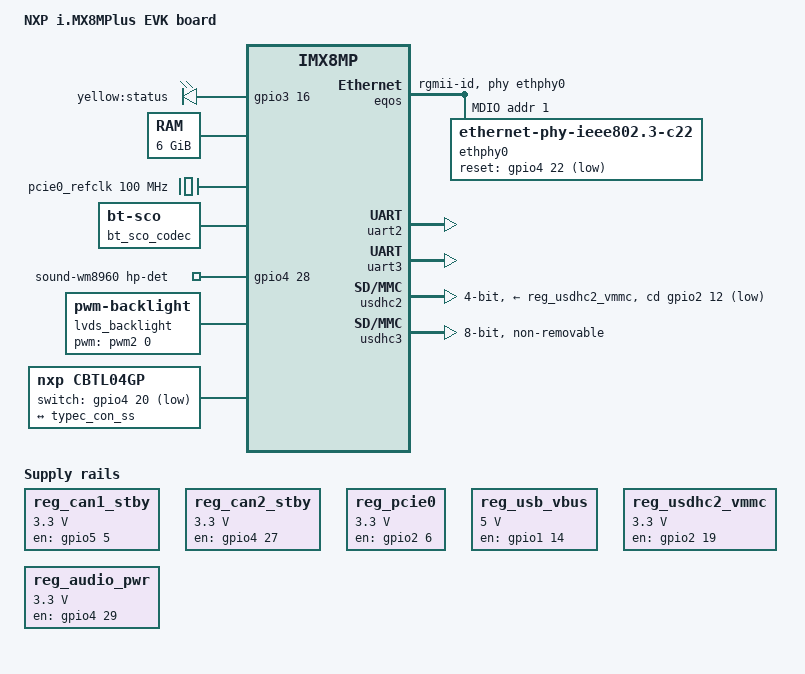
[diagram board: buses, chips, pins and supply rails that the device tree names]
/dts-v1/;

#include <dt-bindings/phy/phy-imx8-pcie.h>
#include <dt-bindings/usb/pd.h>
#include "imx8mp.dtsi"
#include "imx8mp-edc-brd01-pinmux.dtsi"        

/ {
	model = "NXP i.MX8MPlus EVK board";
	compatible = "fsl,imx8mp-evk", "fsl,imx8mp";

	chosen {
		stdout-path = &uart2;
	};

	gpio-leds {
		compatible = "gpio-leds";
		pinctrl-names = "default";
		pinctrl-0 = <&pinctrl_gpio_led>;

		status {
			label = "yellow:status";
			gpios = <&gpio3 16 GPIO_ACTIVE_HIGH>;
			default-state = "on";
		};
	};

	memory@40000000 {
		device_type = "memory";
		reg = <0x0 0x40000000 0 0xc0000000>,
		      <0x1 0x00000000 0 0xc0000000>;
	};

	pcie0_refclk: pcie0-refclk {
		compatible = "fixed-clock";
		#clock-cells = <0>;
		clock-frequency = <100000000>;
	};

	reg_can1_stby: regulator-can1-stby {
		compatible = "regulator-fixed";
		regulator-name = "can1-stby";
		pinctrl-names = "default";
		pinctrl-0 = <&pinctrl_flexcan1_reg>;
		regulator-min-microvolt = <3300000>;
		regulator-max-microvolt = <3300000>;
		gpio = <&gpio5 5 GPIO_ACTIVE_HIGH>;
		enable-active-high;
	};

	reg_can2_stby: regulator-can2-stby {
		compatible = "regulator-fixed";
		regulator-name = "can2-stby";
		pinctrl-names = "default";
		pinctrl-0 = <&pinctrl_flexcan2_reg>;
		regulator-min-microvolt = <3300000>;
		regulator-max-microvolt = <3300000>;
		gpio = <&gpio4 27 GPIO_ACTIVE_HIGH>;
		enable-active-high;
	};

	reg_pcie0: regulator-pcie {
		compatible = "regulator-fixed";
		pinctrl-names = "default";
		pinctrl-0 = <&pinctrl_pcie0_reg>;
		regulator-name = "MPCIE_3V3";
		regulator-min-microvolt = <3300000>;
		regulator-max-microvolt = <3300000>;
		gpio = <&gpio2 6 GPIO_ACTIVE_HIGH>;
		enable-active-high;
		regulator-always-on;
	};

	reg_usb_vbus: regulator-vbus {
		compatible = "regulator-fixed";
		pinctrl-names = "default";
		pinctrl-0 = <&pinctrl_usb1_vbus>;
		regulator-name = "USB_VBUS";
		regulator-min-microvolt = <5000000>;
		regulator-max-microvolt = <5000000>;
		gpio = <&gpio1 14 GPIO_ACTIVE_HIGH>;
		enable-active-high;
		regulator-always-on;
	};

	reg_usdhc2_vmmc: regulator-usdhc2 {
		compatible = "regulator-fixed";
		pinctrl-names = "default";
		pinctrl-0 = <&pinctrl_reg_usdhc2_vmmc>;
		regulator-name = "VSD_3V3";
		regulator-min-microvolt = <3300000>;
		regulator-max-microvolt = <3300000>;
		gpio = <&gpio2 19 GPIO_ACTIVE_HIGH>;
		enable-active-high;
	};

	reg_audio_pwr: regulator-audio-pwr {
		compatible = "regulator-fixed";
		regulator-name = "audio-pwr";
		regulator-min-microvolt = <3300000>;
		regulator-max-microvolt = <3300000>;
		gpio = <&gpio4 29 GPIO_ACTIVE_HIGH>;
		enable-active-high;
		regulator-always-on;
	};

	bt_sco_codec: bt_sco_codec {
		#sound-dai-cells = <1>;
		compatible = "linux,bt-sco";
	};

	sound-bt-sco {
		compatible = "simple-audio-card";
		simple-audio-card,name = "bt-sco-audio";
		simple-audio-card,format = "dsp_a";
		simple-audio-card,bitclock-inversion;
		simple-audio-card,frame-master = <&btcpu>;
		simple-audio-card,bitclock-master = <&btcpu>;

		btcpu: simple-audio-card,cpu {
			sound-dai = <&sai2>;
			dai-tdm-slot-num = <2>;
			dai-tdm-slot-width = <16>;
		};

		simple-audio-card,codec {
			sound-dai = <&bt_sco_codec 1>;
		};
	};

	sound-hdmi {
		compatible = "fsl,imx-audio-hdmi";
		model = "audio-hdmi";
		audio-cpu = <&aud2htx>;
		hdmi-out;
		constraint-rate = <44100>,
				<88200>,
				<176400>,
				<32000>,
				<48000>,
				<96000>,
				<192000>;
		status = "okay";
	};

	sound-wm8960 {
		compatible = "fsl,imx-audio-wm8960";
		model = "wm8960-audio";
		audio-cpu = <&sai3>;
		audio-codec = <&codec>;
		audio-asrc = <&easrc>;
		hp-det-gpio = <&gpio4 28 0>;
		audio-routing =
			"Headphone Jack", "HP_L",
			"Headphone Jack", "HP_R",
			"Ext Spk", "SPK_LP",
			"Ext Spk", "SPK_LN",
			"Ext Spk", "SPK_RP",
			"Ext Spk", "SPK_RN",
			"LINPUT1", "Mic Jack",
			"LINPUT3", "Mic Jack",
			"Mic Jack", "MICB";
	};

	sound-micfil {
		compatible = "fsl,imx-audio-card";
		model = "micfil-audio";
		pri-dai-link {
			link-name = "micfil hifi";
			format = "i2s";
			cpu {
				sound-dai = <&micfil>;
			};
		};
	};

	sound-xcvr {
		compatible = "fsl,imx-audio-card";
		model = "imx-audio-xcvr";
		pri-dai-link {
			link-name = "XCVR PCM";
			cpu {
				sound-dai = <&xcvr>;
			};
		};
	};

	lvds_backlight: lvds_backlight {
		compatible = "pwm-backlight";
		pwms = <&pwm2 0 100000 0>;
		status = "okay";

		brightness-levels = < 0  1  2  3  4  5  6  7  8  9
				     10 11 12 13 14 15 16 17 18 19
				     20 21 22 23 24 25 26 27 28 29
				     30 31 32 33 34 35 36 37 38 39
				     40 41 42 43 44 45 46 47 48 49
				     50 51 52 53 54 55 56 57 58 59
				     60 61 62 63 64 65 66 67 68 69
				     70 71 72 73 74 75 76 77 78 79
				     80 81 82 83 84 85 86 87 88 89
				     90 91 92 93 94 95 96 97 98 99
				    100>;
		default-brightness-level = <80>;
	};

	cbtl04gp {
		compatible = "nxp,cbtl04gp";
		pinctrl-names = "default";
		pinctrl-0 = <&pinctrl_typec_mux>;
		switch-gpios = <&gpio4 20 GPIO_ACTIVE_LOW>;
		orientation-switch;

		port {
			usb3_data_ss: endpoint {
				remote-endpoint = <&typec_con_ss>;
			};
		};
	};
};

&iomuxc {
	pinctrl-names = "default";
	pinctrl-0 = <&pinctrl_hog>;

	pinctrl_hog: hoggrp {
		fsl,pins = <
			MX8MP_IOMUXC_HDMI_DDC_SCL__HDMIMIX_HDMI_SCL	0x400001c2
			MX8MP_IOMUXC_HDMI_DDC_SDA__HDMIMIX_HDMI_SDA	0x400001c2
			MX8MP_IOMUXC_HDMI_HPD__HDMIMIX_HDMI_HPD		0x40000010
			MX8MP_IOMUXC_HDMI_CEC__HDMIMIX_HDMI_CEC		0x40000010
			/*
			 * M.2 pin20 & pin21 need to be set to 11 for 88W9098 to select the
			 * default Reference Clock Frequency
			 */
			MX8MP_IOMUXC_SD1_DATA7__GPIO2_IO09		0x1c4
		>;
	};

	pinctrl_pwm1: pwm1grp {
		fsl,pins = <
			MX8MP_IOMUXC_GPIO1_IO01__PWM1_OUT	0x116
		>;
	};

	pinctrl_pwm2: pwm2grp {
		fsl,pins = <
			MX8MP_IOMUXC_GPIO1_IO11__PWM2_OUT	0x116
		>;
	};

	pinctrl_pwm4: pwm4grp {
		fsl,pins = <
			MX8MP_IOMUXC_SAI5_RXFS__PWM4_OUT	0x116
		>;
	};

	pinctrl_ecspi2: ecspi2grp {
		fsl,pins = <
			MX8MP_IOMUXC_ECSPI2_SCLK__ECSPI2_SCLK		0x82
			MX8MP_IOMUXC_ECSPI2_MOSI__ECSPI2_MOSI		0x82
			MX8MP_IOMUXC_ECSPI2_MISO__ECSPI2_MISO		0x82
		>;
	};

	pinctrl_ecspi2_cs: ecspi2cs {
		fsl,pins = <
			MX8MP_IOMUXC_ECSPI2_SS0__GPIO5_IO13		0x40000
		>;
	};

	pinctrl_eqos: eqosgrp {
		fsl,pins = <
			MX8MP_IOMUXC_ENET_MDC__ENET_QOS_MDC				0x2
			MX8MP_IOMUXC_ENET_MDIO__ENET_QOS_MDIO				0x2
			MX8MP_IOMUXC_ENET_RD0__ENET_QOS_RGMII_RD0			0x90
			MX8MP_IOMUXC_ENET_RD1__ENET_QOS_RGMII_RD1			0x90
			MX8MP_IOMUXC_ENET_RD2__ENET_QOS_RGMII_RD2			0x90
			MX8MP_IOMUXC_ENET_RD3__ENET_QOS_RGMII_RD3			0x90
			MX8MP_IOMUXC_ENET_RXC__CCM_ENET_QOS_CLOCK_GENERATE_RX_CLK	0x90
			MX8MP_IOMUXC_ENET_RX_CTL__ENET_QOS_RGMII_RX_CTL			0x90
			MX8MP_IOMUXC_ENET_TD0__ENET_QOS_RGMII_TD0			0x16
			MX8MP_IOMUXC_ENET_TD1__ENET_QOS_RGMII_TD1			0x16
			MX8MP_IOMUXC_ENET_TD2__ENET_QOS_RGMII_TD2			0x16
			MX8MP_IOMUXC_ENET_TD3__ENET_QOS_RGMII_TD3			0x16
			MX8MP_IOMUXC_ENET_TX_CTL__ENET_QOS_RGMII_TX_CTL			0x16
			MX8MP_IOMUXC_ENET_TXC__CCM_ENET_QOS_CLOCK_GENERATE_TX_CLK	0x16
			MX8MP_IOMUXC_SAI2_RXC__GPIO4_IO22				0x10
		>;
	};

	pinctrl_fec: fecgrp {
		fsl,pins = <
			MX8MP_IOMUXC_SAI1_RXD2__ENET1_MDC		0x2
			MX8MP_IOMUXC_SAI1_RXD3__ENET1_MDIO		0x2
			MX8MP_IOMUXC_SAI1_RXD4__ENET1_RGMII_RD0		0x90
			MX8MP_IOMUXC_SAI1_RXD5__ENET1_RGMII_RD1		0x90
			MX8MP_IOMUXC_SAI1_RXD6__ENET1_RGMII_RD2		0x90
			MX8MP_IOMUXC_SAI1_RXD7__ENET1_RGMII_RD3		0x90
			MX8MP_IOMUXC_SAI1_TXC__ENET1_RGMII_RXC		0x90
			MX8MP_IOMUXC_SAI1_TXFS__ENET1_RGMII_RX_CTL	0x90
			MX8MP_IOMUXC_SAI1_TXD0__ENET1_RGMII_TD0		0x16
			MX8MP_IOMUXC_SAI1_TXD1__ENET1_RGMII_TD1		0x16
			MX8MP_IOMUXC_SAI1_TXD2__ENET1_RGMII_TD2		0x16
			MX8MP_IOMUXC_SAI1_TXD3__ENET1_RGMII_TD3		0x16
			MX8MP_IOMUXC_SAI1_TXD4__ENET1_RGMII_TX_CTL	0x16
			MX8MP_IOMUXC_SAI1_TXD5__ENET1_RGMII_TXC		0x16
			MX8MP_IOMUXC_SAI1_RXD0__GPIO4_IO02		0x10
		>;
	};

	pinctrl_flexcan1: flexcan1grp {
		fsl,pins = <
			MX8MP_IOMUXC_SPDIF_RX__CAN1_RX          0x154
			MX8MP_IOMUXC_SPDIF_TX__CAN1_TX          0x154
		>;
	};

	pinctrl_flexcan2: flexcan2grp {
		fsl,pins = <
			MX8MP_IOMUXC_SAI5_MCLK__CAN2_RX         0x154
			MX8MP_IOMUXC_SAI5_RXD3__CAN2_TX         0x154
		>;
	};

	pinctrl_flexcan1_reg: flexcan1reggrp {
		fsl,pins = <
			MX8MP_IOMUXC_SPDIF_EXT_CLK__GPIO5_IO05  0x154   /* CAN1_STBY */
		>;
	};

	pinctrl_flexcan2_reg: flexcan2reggrp {
		fsl,pins = <
			MX8MP_IOMUXC_SAI2_MCLK__GPIO4_IO27      0x154   /* CAN2_STBY */
		>;
	};

	pinctrl_flexspi0: flexspi0grp {
		fsl,pins = <
			MX8MP_IOMUXC_NAND_ALE__FLEXSPI_A_SCLK           0x1c2
			MX8MP_IOMUXC_NAND_CE0_B__FLEXSPI_A_SS0_B        0x82
			MX8MP_IOMUXC_NAND_DATA00__FLEXSPI_A_DATA00      0x82
			MX8MP_IOMUXC_NAND_DATA01__FLEXSPI_A_DATA01      0x82
			MX8MP_IOMUXC_NAND_DATA02__FLEXSPI_A_DATA02      0x82
			MX8MP_IOMUXC_NAND_DATA03__FLEXSPI_A_DATA03      0x82
		>;
	};

	pinctrl_gpio_led: gpioledgrp {
		fsl,pins = <
			MX8MP_IOMUXC_NAND_READY_B__GPIO3_IO16	0x140
		>;
	};

	pinctrl_i2c1: i2c1grp {
		fsl,pins = <
			MX8MP_IOMUXC_I2C1_SCL__I2C1_SCL		0x400001c2
			MX8MP_IOMUXC_I2C1_SDA__I2C1_SDA		0x400001c2
		>;
	};

	pinctrl_i2c2: i2c2grp {
		fsl,pins = <
			MX8MP_IOMUXC_I2C2_SCL__I2C2_SCL		0x400001c2
			MX8MP_IOMUXC_I2C2_SDA__I2C2_SDA		0x400001c2
		>;
	};

	pinctrl_i2c3: i2c3grp {
		fsl,pins = <
			MX8MP_IOMUXC_I2C3_SCL__I2C3_SCL		0x400001c2
			MX8MP_IOMUXC_I2C3_SDA__I2C3_SDA		0x400001c2
		>;
	};

	pinctrl_i2c5: i2c5grp {
		fsl,pins = <
			MX8MP_IOMUXC_SPDIF_RX__I2C5_SDA         0x400001c2
			MX8MP_IOMUXC_SPDIF_TX__I2C5_SCL         0x400001c2
		>;
	};

	pinctrl_mipi_dsi_en: mipi_dsi_en {
		fsl,pins = <
			MX8MP_IOMUXC_GPIO1_IO08__GPIO1_IO08	0x16
		>;
	};

	pinctrl_pcie0: pcie0grp {
		fsl,pins = <
			MX8MP_IOMUXC_I2C4_SCL__PCIE_CLKREQ_B	0x60 /* open drain, pull up */
			MX8MP_IOMUXC_SD1_DATA5__GPIO2_IO07	0x40
			MX8MP_IOMUXC_I2C4_SDA__GPIO5_IO21	0x1c4
		>;
	};

	pinctrl_pcie0_reg: pcie0reggrp {
		fsl,pins = <
			MX8MP_IOMUXC_SD1_DATA4__GPIO2_IO06	0x40
		>;
	};

	pinctrl_pmic: pmicgrp {
		fsl,pins = <
			MX8MP_IOMUXC_GPIO1_IO03__GPIO1_IO03	0x000001c0
		>;
	};

	pinctrl_pca6416_int: pca6416_int_grp {
		fsl,pins = <
			MX8MP_IOMUXC_GPIO1_IO12__GPIO1_IO12	0x146 /* Input pull-up. */
		>;
	};

	pinctrl_reg_usdhc2_vmmc: regusdhc2vmmcgrp {
		fsl,pins = <
			MX8MP_IOMUXC_SD2_RESET_B__GPIO2_IO19	0x40
		>;
	};

	pinctrl_pdm: pdmgrp {
		fsl,pins = <
			MX8MP_IOMUXC_SAI5_RXC__AUDIOMIX_PDM_CLK		0xd6
			MX8MP_IOMUXC_SAI5_RXD0__AUDIOMIX_PDM_BIT_STREAM00	0xd6
			MX8MP_IOMUXC_SAI5_RXD1__AUDIOMIX_PDM_BIT_STREAM01	0xd6
			MX8MP_IOMUXC_SAI5_RXD2__AUDIOMIX_PDM_BIT_STREAM02	0xd6
			MX8MP_IOMUXC_SAI5_RXD3__AUDIOMIX_PDM_BIT_STREAM03	0xd6
		>;
	};

	pinctrl_sai2: sai2grp {
		fsl,pins = <
			MX8MP_IOMUXC_SAI2_TXC__AUDIOMIX_SAI2_TX_BCLK	0xd6
			MX8MP_IOMUXC_SAI2_TXFS__AUDIOMIX_SAI2_TX_SYNC	0xd6
			MX8MP_IOMUXC_SAI2_TXD0__AUDIOMIX_SAI2_TX_DATA00	0xd6
			MX8MP_IOMUXC_SAI2_RXD0__AUDIOMIX_SAI2_RX_DATA00	0xd6
		>;
	};

	pinctrl_sai3: sai3grp {
		fsl,pins = <
			MX8MP_IOMUXC_SAI3_TXFS__AUDIOMIX_SAI3_TX_SYNC	0xd6
			MX8MP_IOMUXC_SAI3_TXC__AUDIOMIX_SAI3_TX_BCLK	0xd6
			MX8MP_IOMUXC_SAI3_RXD__AUDIOMIX_SAI3_RX_DATA00	0xd6
			MX8MP_IOMUXC_SAI3_TXD__AUDIOMIX_SAI3_TX_DATA00	0xd6
			MX8MP_IOMUXC_SAI3_MCLK__AUDIOMIX_SAI3_MCLK	0xd6
			MX8MP_IOMUXC_SAI3_RXFS__GPIO4_IO28		0xd6
			MX8MP_IOMUXC_SAI3_RXC__GPIO4_IO29		0xd6
		>;
	};

	pinctrl_i2c2_synaptics_dsx_io: synaptics_dsx_iogrp {
		fsl,pins = <
			MX8MP_IOMUXC_GPIO1_IO09__GPIO1_IO09		0x16
		>;
	};

	pinctrl_uart1: uart1grp {
		fsl,pins = <
			MX8MP_IOMUXC_UART1_RXD__UART1_DCE_RX	0x140
			MX8MP_IOMUXC_UART1_TXD__UART1_DCE_TX	0x140
			MX8MP_IOMUXC_UART3_RXD__UART1_DCE_CTS	0x140
			MX8MP_IOMUXC_UART3_TXD__UART1_DCE_RTS	0x140
		>;
	};

	pinctrl_typec: typec1grp {
		fsl,pins = <
			MX8MP_IOMUXC_SAI1_TXD7__GPIO4_IO19	0x1c4
		>;
	};

	pinctrl_typec_mux: typec1muxgrp {
		fsl,pins = <
			MX8MP_IOMUXC_SAI1_MCLK__GPIO4_IO20	0x16
		>;
	};

	pinctrl_uart2: uart2grp {
		fsl,pins = <
			MX8MP_IOMUXC_UART2_RXD__UART2_DCE_RX	0x140
			MX8MP_IOMUXC_UART2_TXD__UART2_DCE_TX	0x140
		>;
	};

	pinctrl_usb1_vbus: usb1grp {
		fsl,pins = <
			MX8MP_IOMUXC_GPIO1_IO14__GPIO1_IO14		0x10
		>;
	};

	pinctrl_uart3: uart3grp {
		fsl,pins = <
			MX8MP_IOMUXC_ECSPI1_SCLK__UART3_DCE_RX		0x140
			MX8MP_IOMUXC_ECSPI1_MOSI__UART3_DCE_TX		0x140
			MX8MP_IOMUXC_ECSPI1_SS0__UART3_DCE_RTS		0x140
			MX8MP_IOMUXC_ECSPI1_MISO__UART3_DCE_CTS		0x140
		>;
	};

	pinctrl_usdhc2: usdhc2grp {
		fsl,pins = <
			MX8MP_IOMUXC_SD2_CLK__USDHC2_CLK	0x190
			MX8MP_IOMUXC_SD2_CMD__USDHC2_CMD	0x1d0
			MX8MP_IOMUXC_SD2_DATA0__USDHC2_DATA0	0x1d0
			MX8MP_IOMUXC_SD2_DATA1__USDHC2_DATA1	0x1d0
			MX8MP_IOMUXC_SD2_DATA2__USDHC2_DATA2	0x1d0
			MX8MP_IOMUXC_SD2_DATA3__USDHC2_DATA3	0x1d0
			MX8MP_IOMUXC_GPIO1_IO04__USDHC2_VSELECT	0xc0
		>;
	};

	pinctrl_usdhc2_100mhz: usdhc2-100mhzgrp {
		fsl,pins = <
			MX8MP_IOMUXC_SD2_CLK__USDHC2_CLK	0x194
			MX8MP_IOMUXC_SD2_CMD__USDHC2_CMD	0x1d4
			MX8MP_IOMUXC_SD2_DATA0__USDHC2_DATA0	0x1d4
			MX8MP_IOMUXC_SD2_DATA1__USDHC2_DATA1	0x1d4
			MX8MP_IOMUXC_SD2_DATA2__USDHC2_DATA2	0x1d4
			MX8MP_IOMUXC_SD2_DATA3__USDHC2_DATA3	0x1d4
			MX8MP_IOMUXC_GPIO1_IO04__USDHC2_VSELECT 0xc0
		>;
	};

	pinctrl_usdhc2_200mhz: usdhc2-200mhzgrp {
		fsl,pins = <
			MX8MP_IOMUXC_SD2_CLK__USDHC2_CLK	0x196
			MX8MP_IOMUXC_SD2_CMD__USDHC2_CMD	0x1d6
			MX8MP_IOMUXC_SD2_DATA0__USDHC2_DATA0	0x1d6
			MX8MP_IOMUXC_SD2_DATA1__USDHC2_DATA1	0x1d6
			MX8MP_IOMUXC_SD2_DATA2__USDHC2_DATA2	0x1d6
			MX8MP_IOMUXC_SD2_DATA3__USDHC2_DATA3	0x1d6
			MX8MP_IOMUXC_GPIO1_IO04__USDHC2_VSELECT 0xc0
		>;
	};

	pinctrl_usdhc2_gpio: usdhc2gpiogrp {
		fsl,pins = <
			MX8MP_IOMUXC_SD2_CD_B__GPIO2_IO12	0x1c4
		>;
	};

	pinctrl_usdhc3: usdhc3grp {
		fsl,pins = <
			MX8MP_IOMUXC_NAND_WE_B__USDHC3_CLK	0x190
			MX8MP_IOMUXC_NAND_WP_B__USDHC3_CMD	0x1d0
			MX8MP_IOMUXC_NAND_DATA04__USDHC3_DATA0	0x1d0
			MX8MP_IOMUXC_NAND_DATA05__USDHC3_DATA1	0x1d0
			MX8MP_IOMUXC_NAND_DATA06__USDHC3_DATA2	0x1d0
			MX8MP_IOMUXC_NAND_DATA07__USDHC3_DATA3	0x1d0
			MX8MP_IOMUXC_NAND_RE_B__USDHC3_DATA4	0x1d0
			MX8MP_IOMUXC_NAND_CE2_B__USDHC3_DATA5	0x1d0
			MX8MP_IOMUXC_NAND_CE3_B__USDHC3_DATA6	0x1d0
			MX8MP_IOMUXC_NAND_CLE__USDHC3_DATA7	0x1d0
			MX8MP_IOMUXC_NAND_CE1_B__USDHC3_STROBE	0x190
		>;
	};

	pinctrl_usdhc3_100mhz: usdhc3-100mhzgrp {
		fsl,pins = <
			MX8MP_IOMUXC_NAND_WE_B__USDHC3_CLK	0x194
			MX8MP_IOMUXC_NAND_WP_B__USDHC3_CMD	0x1d4
			MX8MP_IOMUXC_NAND_DATA04__USDHC3_DATA0	0x1d4
			MX8MP_IOMUXC_NAND_DATA05__USDHC3_DATA1	0x1d4
			MX8MP_IOMUXC_NAND_DATA06__USDHC3_DATA2	0x1d4
			MX8MP_IOMUXC_NAND_DATA07__USDHC3_DATA3	0x1d4
			MX8MP_IOMUXC_NAND_RE_B__USDHC3_DATA4	0x1d4
			MX8MP_IOMUXC_NAND_CE2_B__USDHC3_DATA5	0x1d4
			MX8MP_IOMUXC_NAND_CE3_B__USDHC3_DATA6	0x1d4
			MX8MP_IOMUXC_NAND_CLE__USDHC3_DATA7	0x1d4
			MX8MP_IOMUXC_NAND_CE1_B__USDHC3_STROBE	0x194
		>;
	};

	pinctrl_usdhc3_200mhz: usdhc3-200mhzgrp {
		fsl,pins = <
			MX8MP_IOMUXC_NAND_WE_B__USDHC3_CLK	0x196
			MX8MP_IOMUXC_NAND_WP_B__USDHC3_CMD	0x1d6
			MX8MP_IOMUXC_NAND_DATA04__USDHC3_DATA0	0x1d6
			MX8MP_IOMUXC_NAND_DATA05__USDHC3_DATA1	0x1d6
			MX8MP_IOMUXC_NAND_DATA06__USDHC3_DATA2	0x1d6
			MX8MP_IOMUXC_NAND_DATA07__USDHC3_DATA3	0x1d6
			MX8MP_IOMUXC_NAND_RE_B__USDHC3_DATA4	0x1d6
			MX8MP_IOMUXC_NAND_CE2_B__USDHC3_DATA5	0x1d6
			MX8MP_IOMUXC_NAND_CE3_B__USDHC3_DATA6	0x1d6
			MX8MP_IOMUXC_NAND_CLE__USDHC3_DATA7	0x1d6
			MX8MP_IOMUXC_NAND_CE1_B__USDHC3_STROBE	0x196
		>;
	};

	pinctrl_wdog: wdoggrp {
		fsl,pins = <
			MX8MP_IOMUXC_GPIO1_IO02__WDOG1_WDOG_B	0x166
		>;
	};

	pinctrl_csi0_pwn: csi0_pwn_grp {
		fsl,pins = <
			MX8MP_IOMUXC_SD1_STROBE__GPIO2_IO11	0x10
		>;
	};

	pinctrl_csi0_rst: csi0_rst_grp {
		fsl,pins = <
			MX8MP_IOMUXC_GPIO1_IO06__GPIO1_IO06		0x10
		>;
	};

	pinctrl_csi_mclk: csi_mclk_grp {
		fsl,pins = <
			MX8MP_IOMUXC_GPIO1_IO15__CCM_CLKO2	0x50
		>;
	};
};

&eqos {
	pinctrl-names = "default";
	pinctrl-0 = <&pinctrl_eqos>;
	phy-mode = "rgmii-id";
	phy-handle = <&ethphy0>;
	snps,force_thresh_dma_mode;
	snps,mtl-tx-config = <&mtl_tx_setup>;
	snps,mtl-rx-config = <&mtl_rx_setup>;
	status = "okay";

	mdio {
		compatible = "snps,dwmac-mdio";
		#address-cells = <1>;
		#size-cells = <0>;

		ethphy0: ethernet-phy@1 {
			compatible = "ethernet-phy-ieee802.3-c22";
			reg = <1>;
			eee-broken-1000t;
			reset-gpios = <&gpio4 22 GPIO_ACTIVE_LOW>;
			reset-assert-us = <10000>;
			reset-deassert-us = <80000>;
			realtek,clkout-disable;
		};
	};

	mtl_tx_setup: tx-queues-config {
		snps,tx-queues-to-use = <5>;
		snps,tx-sched-sp;

		queue0 {
			snps,dcb-algorithm;
			snps,priority = <0x1>;
		};

		queue1 {
			snps,dcb-algorithm;
			snps,priority = <0x2>;
		};

		queue2 {
			snps,dcb-algorithm;
			snps,priority = <0x4>;
		};

		queue3 {
			snps,dcb-algorithm;
			snps,priority = <0x8>;
		};
	};

	mtl_rx_setup: rx-queues-config {
		snps,rx-queues-to-use = <5>;
		snps,rx-sched-sp;

		queue0 {
			snps,dcb-algorithm;
			snps,priority = <0x1>;
			snps,map-to-dma-channel = <0>;
		};

		queue1 {
			snps,dcb-algorithm;
			snps,priority = <0x2>;
			snps,map-to-dma-channel = <1>;
		};

		queue2 {
			snps,dcb-algorithm;
			snps,priority = <0x4>;
			snps,map-to-dma-channel = <2>;
		};

		queue3 {
			snps,dcb-algorithm;
			snps,priority = <0x8>;
			snps,map-to-dma-channel = <3>;
		};
	};
};

&uart1 {
  /* BT */
	pinctrl-names = "default";
	pinctrl-0 = <&pinctrl_uart1>;
	assigned-clocks = <&clk IMX8MP_CLK_UART1>;
	assigned-clock-parents = <&clk IMX8MP_SYS_PLL1_80M>;
	fsl,uart-has-rtscts;
	status = "disabled";

	bluetooth {
		compatible = "nxp,88w8997-bt";
	};
};

&uart2 {
	/* console */
	pinctrl-names = "default";
	pinctrl-0 = <&pinctrl_uart2>;
	status = "okay";
};

&uart3 {
	pinctrl-names = "default";
	pinctrl-0 = <&pinctrl_uart3>;
	assigned-clocks = <&clk IMX8MP_CLK_UART3>;
	assigned-clock-parents = <&clk IMX8MP_SYS_PLL1_80M>;
	fsl,uart-has-rtscts;
	status = "okay";
};

&usdhc2 {
  assigned-clocks = <&clk IMX8MP_CLK_USDHC2>;
  assigned-clock-rates = <400000000>;
  pinctrl-names = "default", "state_100mhz", "state_200mhz";
	pinctrl-0 = <&pinctrl_usdhc2>, <&pinctrl_usdhc2_gpio>;
  pinctrl-1 = <&pinctrl_usdhc2_100mhz>, <&pinctrl_usdhc2_gpio>;
  pinctrl-2 = <&pinctrl_usdhc2_200mhz>, <&pinctrl_usdhc2_gpio>;
  cd-gpios = <&gpio2 12 GPIO_ACTIVE_LOW>;
  vmmc-supply = <&reg_usdhc2_vmmc>;
  bus-width = <4>;
  status = "okay";
};

&usdhc3 {
  assigned-clocks = <&clk IMX8MP_CLK_USDHC3>;
  assigned-clock-rates = <400000000>;
  pinctrl-names = "default", "state_100mhz", "state_200mhz";
	pinctrl-0 = <&pinctrl_usdhc3>;
  pinctrl-1 = <&pinctrl_usdhc3_100mhz>;
  pinctrl-2 = <&pinctrl_usdhc3_200mhz>;
  bus-width = <8>;
  non-removable;
  status = "okay";
};
